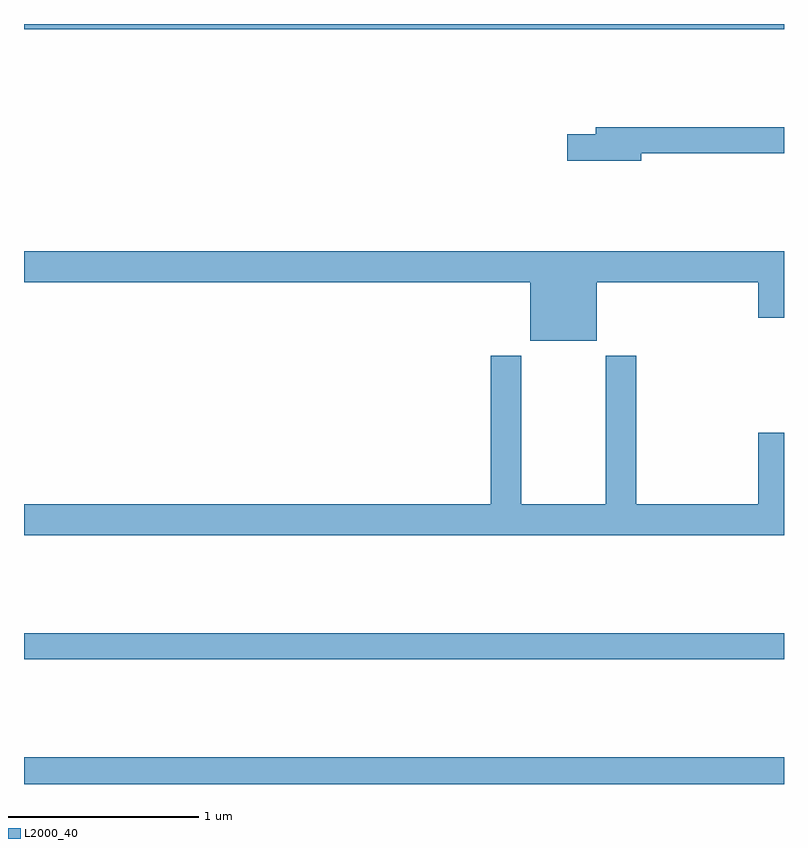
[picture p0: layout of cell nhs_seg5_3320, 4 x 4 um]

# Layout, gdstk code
import gdstk
lib = gdstk.Library(unit=1e-6, precision=1e-09)
def R(c, l, rs):  # rectangles x0, y0, x1, y1
    for r in rs: c.add(gdstk.rectangle(r[:2], r[2:], *l))
def P(c, l, *ps):  # polygons
    for p in ps: c.add(gdstk.Polygon(p, *l))
L2000_40 = (2000, 40)

nhs_seg5_3320 = lib.new_cell('nhs_seg5_3320')
R(nhs_seg5_3320, L2000_40, [(305,840.799,309,840.94), (305,841.456,309,841.592), (305,844.772,309,844.799)])
P(nhs_seg5_3320, L2000_40, [(308.248,844.12),(309,844.12),(309,844.256),(308.009,844.256),(308.009,844.22),(307.86,844.22),(307.86,844.078),(308.248,844.078)],
  [(305,843.44),(307.664,843.44),(307.664,843.131),(308.014,843.131),(308.014,843.44),(308.864,843.44),(308.864,843.252),(309,843.252),(309,843.604),(305,843.604)],
  [(309,842.647),(308.864,842.647),(308.864,842.272),(308.222,842.272),(308.222,843.052),(308.062,843.052),(308.062,842.272),(307.617,842.272),(307.617,843.052),(307.457,843.052),(307.457,842.272),(305,842.272),(305,842.108),(309,842.108)])

lib.write_gds('nhs_seg5_3320.gds')
